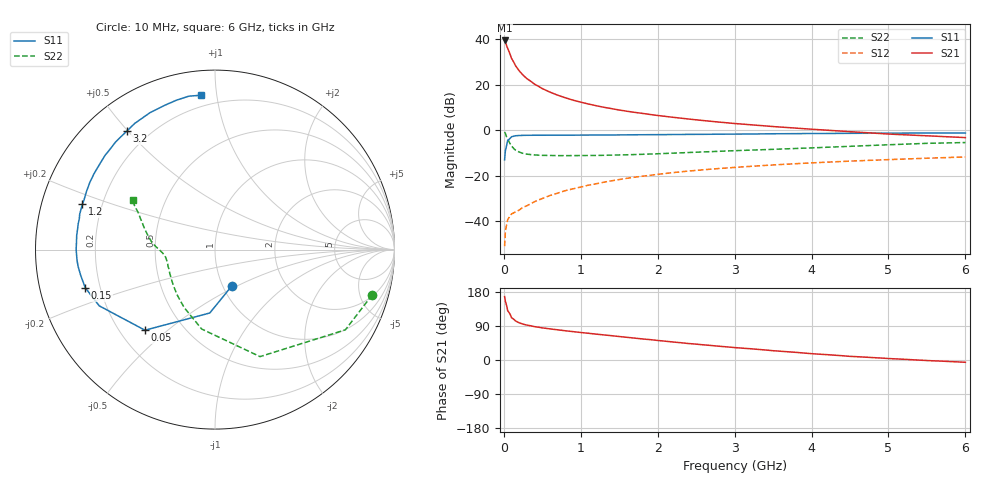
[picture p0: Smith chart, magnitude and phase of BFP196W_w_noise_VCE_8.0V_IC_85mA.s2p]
! (c) 2017  Infineon Technologies AG, Munich
! Infineon Technologies  Discrete & RF Semiconductors
! BFP196W
! VCE =  8.0 V,  IC =  85 mA
! Common Emitter S-Parameters:  Jan 2017
# GHz  S  MA  R  50
!  f  S11  S21  S12  S22
! GHz  MAG  ANG  MAG  ANG  MAG  ANG  MAG  ANG
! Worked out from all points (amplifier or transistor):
!   77 points, 10 MHz to 6 GHz, reference 50 ohm
!   highest |S21| = 39.5 dB at 10 MHz (marker M1)
!   |S21| within 3 dB of that: start of sweep to 44.1 MHz
!   unconditionally stable (mu >= 1): 586.3 MHz to 3.263 GHz
!   at 130 MHz: K = 0.50, MSG = 33.1 dB, |S12| = -36.4 dB
!   at 2.2 GHz: K = 1.04, MAG = 11.0 dB, |S12| = -18.7 dB
!   at 6 GHz: K = 0.94, MSG = 4.3 dB, |S12| = -11.8 dB
!   lowest NFmin = 1.73 dB at 450 MHz
!   S11 on the Smith chart (normalised r, x): 10 MHz: 1.11, -0.47; 50 MHz: 0.30, -0.42; 150 MHz: 0.14, -0.14; 1.2 GHz: 0.13, +0.16; 3.2 GHz: 0.12, +0.49; 6 GHz: 0.13, +0.91
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0.01  0.2221 -64.6  94.15 167.2  0.0028 77.2  0.9114 -16.1
0.02  0.3544 -94.7  87.72 154.8  0.0059 69.3  0.8529 -31.6
0.05  0.595 -131.0  62.78 129.9  0.0107 51.0  0.6469 -67.2
0.1  0.7172 -154.1  37.96 111.4  0.0143 44.0  0.4485 -99.6
0.15  0.7535 -163.6  26.51 103.3  0.0158 43.9  0.3651 -118.2
0.2  0.762 -169.2  20.17 98.1  0.0175 49.1  0.3294 -129.7
0.25  0.7687 -173.1  16.23 94.6  0.0201 51.1  0.3081 -138.3
0.3  0.7711 -175.8  13.58 92.1  0.0217 54.4  0.2965 -144.1
0.4  0.7736 180.0  10.26 88.0  0.0267 58.9  0.2849 -152.1
0.5  0.7729 176.8  8.213 84.8  0.0313 61.1  0.2789 -157.1
0.6  0.7747 174.1  6.868 82.1  0.0365 62.5  0.2774 -160.8
0.7  0.7739 171.8  5.882 79.7  0.0411 63.9  0.2753 -163.4
0.9  0.7754 167.1  4.572 74.8  0.0512 65.6  0.2756 -167.1
1.1  0.7797 163.1  3.762 70.5  0.0616 65.4  0.2771 -169.6
1.2  0.7809 161.1  3.45 68.2  0.0661 65.2  0.2775 -170.8
1.6  0.7883 153.6  2.61 59.8  0.0871 63.3  0.2871 -174.8
2.1  0.7984 144.4  2.009 49.6  0.1115 59.1  0.307 -179.2
3.1  0.8204 128.3  1.359 31.3  0.1554 50.2  0.3584 172.5
3.2  0.8228 126.8  1.318 29.8  0.1594 49.3  0.3632 171.5
4.1  0.845 114.2  1.024 15.4  0.194 41.5  0.4137 162.7
5.1  0.8607 103.5  0.806 2.9  0.228 33.4  0.4839 153.5
6  0.8636 95.0  0.686 -6.0  0.2575 26.3  0.5342 148.9
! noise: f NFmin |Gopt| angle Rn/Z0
0.45  1.73  0.57  -175  0.06
0.9  1.87  0.6  -168  0.08
1.9  2.74  0.7  -148  0.21
2.4  3.15  0.74  -143  0.34
